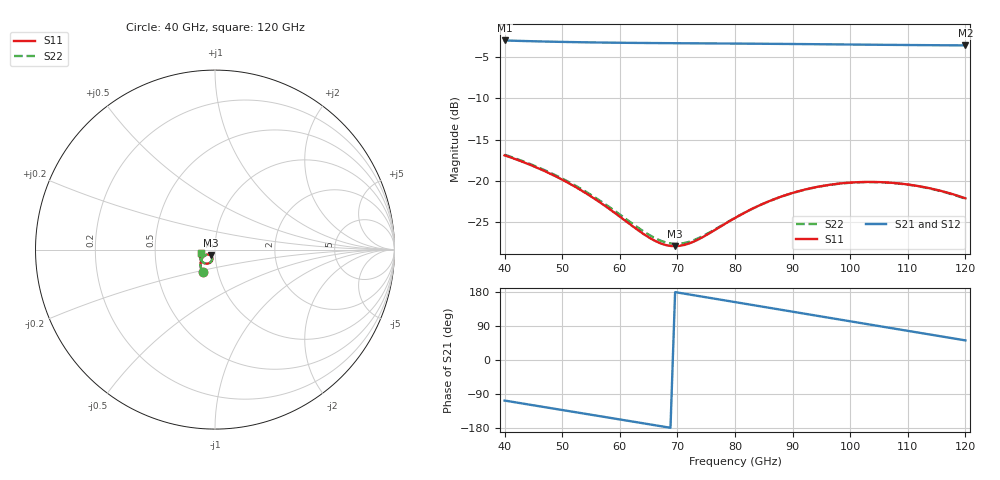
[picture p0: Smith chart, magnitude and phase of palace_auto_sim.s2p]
#  GHZ S DB R 50
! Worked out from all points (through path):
!   101 points, 40 GHz to 120 GHz, reference 50 ohm
!   highest |S21| = -3.02 dB at 40 GHz (marker M1); lowest = -3.6 dB at 120 GHz (marker M2)
!   group delay of S21, straight-line fit = 7 ps
!   lowest |S11| = -27.9 dB at 69.6 GHz (marker M3), VSWR 1.08, Z = 47.6 - j3.11 ohm
!   |S11| at or under -10 dB: start of sweep to end of sweep
!   |S22| runs from -27.6 to -16.8 dB; largest |S21 - S12| = 1.2e-13
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40  -16.90 -118.7  -3.02 -107.0  -3.02 -107.0  -16.82 -118.6
46.4  -18.63 -133.4  -3.14 -123.0  -3.14 -123.0  -18.52 -133.3
53.6  -21.26 -145.9  -3.23 -140.9  -3.23 -140.9  -21.09 -145.8
57.6  -23.09 -149.5  -3.27 -150.9  -3.27 -150.9  -22.87 -149.4
60.8  -24.72 -149.2  -3.30 -158.9  -3.30 -158.9  -24.46 -149.3
64.8  -26.72 -142.9  -3.32 -168.9  -3.32 -168.9  -26.39 -143.5
67.2  -27.57 -135.4  -3.34 -174.9  -3.34 -174.9  -27.24 -136.6
69.6  -27.88 -126.1  -3.35 179.1  -3.35 179.1  -27.60 -127.8
71.2  -27.73 -119.9  -3.35 175.1  -3.35 175.1  -27.50 -121.9
73.6  -27.08 -112.4  -3.36 169.0  -3.36 169.0  -26.93 -114.5
76.8  -25.80 -106.6  -3.38 160.9  -3.38 160.9  -25.74 -108.5
80  -24.47 -105.1  -3.39 152.8  -3.39 152.8  -24.45 -106.7
83.2  -23.29 -106.5  -3.41 144.7  -3.41 144.7  -23.29 -107.8
87.2  -22.09 -110.7  -3.43 134.6  -3.43 134.6  -22.11 -111.7
93.6  -20.81 -120.5  -3.47 118.4  -3.47 118.4  -20.83 -121.3
97.6  -20.35 -127.6  -3.49 108.2  -3.49 108.2  -20.37 -128.2
100.8  -20.16 -133.4  -3.51 100.1  -3.51 100.1  -20.18 -133.9
104  -20.12 -139.3  -3.53 92.1  -3.53 92.1  -20.14 -139.8
107.2  -20.22 -145.1  -3.55 84.0  -3.55 84.0  -20.24 -145.5
110.4  -20.46 -150.8  -3.57 75.9  -3.57 75.9  -20.49 -151.1
113.6  -20.85 -156.2  -3.58 67.9  -3.58 67.9  -20.88 -156.5
120  -22.10 -165.4  -3.61 51.8  -3.61 51.8  -22.15 -165.7
